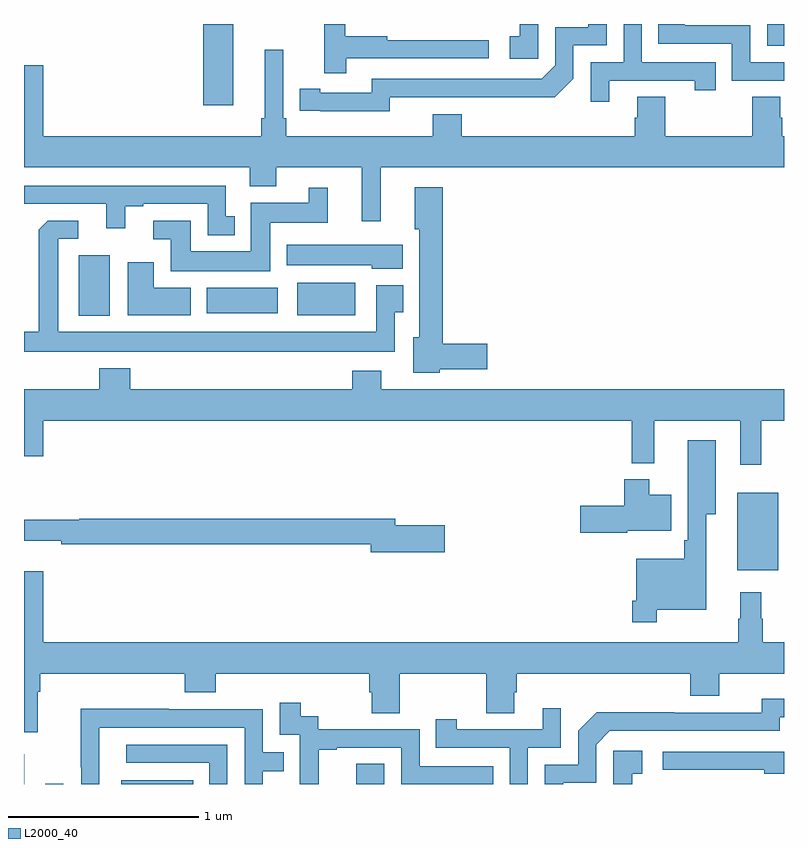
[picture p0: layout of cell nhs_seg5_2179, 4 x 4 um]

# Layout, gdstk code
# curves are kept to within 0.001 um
import gdstk
lib = gdstk.Library(unit=1e-6, precision=1e-09)
def R(c, l, rs):  # rectangles x0, y0, x1, y1
    for r in rs: c.add(gdstk.rectangle(r[:2], r[2:], *l))
def P(c, l, *ps):  # polygons
    for p in ps: c.add(gdstk.Polygon(p, *l))
L2000_40 = (2000, 40)

nhs_seg5_2179 = lib.new_cell('nhs_seg5_2179')
R(nhs_seg5_2179, L2000_40, [(237,902.799,237.001,902.955), (237.111,902.799,237.207,902.8), (237.512,902.799,237.89,902.818), (238.749,902.799,238.896,902.905), (240.755,903.923,240.97,904.333), (237.287,905.264,237.451,905.581), (238.439,905.267,238.744,905.437), (237.962,905.276,238.336,905.41), (237.944,906.372,238.102,906.799), (240.912,906.684,241,906.799)])
P(nhs_seg5_2179, L2000_40, [(238.697,906.618),(239.446,906.618),(239.446,906.714),(238.913,906.714),(238.913,906.734),(238.69,906.734),(238.69,906.799),(238.58,906.799),(238.58,906.54),(238.697,906.54)],
  [(240.079,906.501),(240.53,906.501),(240.53,906.45),(240.641,906.45),(240.641,906.597),(240.252,906.597),(240.252,906.799),(240.156,906.799),(240.156,906.597),(239.982,906.597),(239.982,906.39),(240.079,906.39)],
  [(241,906.597),(240.822,906.597),(240.822,906.792),(240.477,906.792),(240.477,906.799),(240.337,906.799),(240.337,906.696),(240.726,906.696),(240.726,906.501),(241,906.501)],
  [(238.926,906.414),(239.794,906.413),(239.892,906.51),(239.892,906.687),(240.066,906.687),(240.066,906.799),(239.969,906.799),(239.969,906.783),(239.796,906.783),(239.796,906.582),(239.724,906.51),(238.83,906.51),(238.83,906.438),(238.558,906.438),(238.558,906.458),(238.45,906.458),(238.45,906.342),(238.926,906.341)],
  [(239.706,906.799),(239.609,906.799),(239.609,906.735),(239.556,906.735),(239.556,906.615),(239.706,906.615)],
  [(240.979,906.306),(240.979,906.416),(240.832,906.416),(240.832,906.208),(240.375,906.208),(240.375,906.416),(240.227,906.416),(240.227,906.306),(240.215,906.306),(240.215,906.208),(239.303,906.208),(239.303,906.325),(239.15,906.325),(239.15,906.208),(238.379,906.208),(238.379,906.304),(238.365,906.304),(238.365,906.664),(238.268,906.664),(238.268,906.304),(238.249,906.304),(238.249,906.208),(237.1,906.208),(237.1,906.583),(237,906.583),(237,906.044),(238.187,906.044),(238.187,905.945),(238.327,905.945),(238.327,906.044),(238.778,906.044),(238.778,905.76),(238.877,905.76),(238.877,906.044),(241,906.044),(241,906.208),(240.992,906.208),(240.992,906.306)],
  [(238.108,905.787),(238.062,905.787),(238.062,905.949),(237,905.949),(237,905.853),(237.434,905.853),(237.434,905.724),(237.532,905.724),(237.532,905.841),(237.628,905.841),(237.628,905.853),(237.966,905.853),(237.966,905.687),(238.108,905.687)],
  [(239.187,904.982),(239.437,904.982),(239.437,905.117),(239.204,905.117),(239.204,905.941),(239.057,905.941),(239.057,905.718),(239.081,905.718),(239.081,905.151),(239.048,905.151),(239.048,904.964),(239.187,904.964)],
  [(238.297,905.753),(238.598,905.753),(238.598,905.938),(238.499,905.938),(238.499,905.857),(238.193,905.857),(238.193,905.602),(237.877,905.602),(237.877,905.763),(237.681,905.763),(237.681,905.667),(237.773,905.667),(237.773,905.498),(238.297,905.498)],
  [(238.951,905.281),(238.996,905.281),(238.996,905.425),(238.854,905.425),(238.854,905.179),(237.181,905.179),(237.181,905.67),(237.286,905.67),(237.286,905.763),(237.124,905.763),(237.078,905.717),(237.077,905.179),(237,905.179),(237,905.075),(238.951,905.075)],
  [(238.993,905.638),(238.382,905.638),(238.382,905.528),(238.83,905.528),(238.83,905.51),(238.993,905.51)],
  [(237.877,905.41),(237.682,905.41),(237.682,905.545),(237.545,905.545),(237.545,905.267),(237.877,905.267)],
  [(237.395,904.987),(237.395,904.876),(237,904.876),(237,904.524),(237.1,904.524),(237.1,904.712),(240.199,904.712),(240.199,904.487),(240.316,904.487),(240.316,904.712),(240.77,904.712),(240.77,904.479),(240.88,904.479),(240.88,904.712),(241,904.712),(241,904.876),(238.879,904.876),(238.879,904.975),(238.727,904.975),(238.727,904.876),(237.56,904.876),(237.56,904.987)],
  [(240.331,903.716),(240.592,903.716),(240.592,904.22),(240.64,904.22),(240.64,904.609),(240.494,904.609),(240.494,904.081),(240.475,904.081),(240.475,903.985),(240.222,903.985),(240.222,903.763),(240.202,903.763),(240.202,903.651),(240.331,903.651)],
  [(240.174,904.133),(240.406,904.133),(240.406,904.321),(240.292,904.321),(240.292,904.402),(240.158,904.402),(240.158,904.263),(239.928,904.263),(239.928,904.121),(240.174,904.121)],
  [(239.215,904.16),(238.954,904.16),(238.954,904.196),(237.291,904.196),(237.291,904.189),(237,904.189),(237,904.079),(237.196,904.079),(237.196,904.06),(238.826,904.06),(238.826,904.018),(239.215,904.018)],
  [(237.073,903.284),(237.086,903.284),(237.086,903.38),(237.845,903.38),(237.845,903.281),(238.01,903.281),(238.01,903.38),(238.817,903.38),(238.817,903.282),(238.829,903.282),(238.829,903.172),(238.977,903.172),(238.977,903.38),(239.434,903.38),(239.434,903.172),(239.581,903.172),(239.581,903.282),(239.594,903.282),(239.594,903.38),(240.506,903.38),(240.506,903.263),(240.658,903.263),(240.658,903.38),(241,903.38),(241,903.544),(240.887,903.544),(240.887,903.668),(240.88,903.668),(240.88,903.808),(240.77,903.808),(240.77,903.668),(240.759,903.668),(240.759,903.544),(237.1,903.544),(237.1,903.919),(237,903.919),(237,903.071),(237.073,903.071)],
  [(239.839,902.805),(240.012,902.805),(240.012,903.006),(240.084,903.078),(240.978,903.078),(240.978,903.15),(241,903.15),(241,903.247),(240.882,903.247),(240.882,903.174),(240.422,903.174),(240.422,903.176),(240.014,903.176),(239.916,903.078),(239.916,902.901),(239.742,902.901),(239.742,902.799),(239.839,902.799)],
  [(238.55,902.979),(238.645,902.979),(238.645,902.991),(238.986,902.991),(238.986,902.799),(239.471,902.799),(239.471,902.892),(239.082,902.892),(239.082,903.087),(238.548,903.087),(238.548,903.156),(238.456,903.156),(238.456,903.226),(238.347,903.226),(238.347,903.057),(238.452,903.057),(238.452,902.828),(238.451,902.828),(238.451,902.799),(238.55,902.799)],
  [(239.652,902.991),(239.826,902.991),(239.826,903.199),(239.729,903.199),(239.729,903.087),(239.278,903.087),(239.278,903.139),(239.167,903.139),(239.167,902.991),(239.556,902.991),(239.556,902.799),(239.652,902.799)],
  [(237.396,903.096),(238.161,903.096),(238.161,902.799),(238.257,902.799),(238.257,902.866),(238.367,902.866),(238.367,902.967),(238.257,902.967),(238.257,903.192),(237.761,903.192),(237.761,903.194),(237.298,903.194),(237.298,902.887),(237.3,902.887),(237.3,902.799),(237.396,902.799)],
  [(238.071,903.006),(237.537,903.006),(237.537,902.91),(237.975,902.91),(237.975,902.799),(238.071,902.799)],
  [(240.2,902.853),(240.253,902.853),(240.253,902.974),(240.102,902.974),(240.102,902.799),(240.2,902.799)],
  [(241,902.97),(240.363,902.97),(240.363,902.874),(240.895,902.874),(240.895,902.854),(241,902.854)])

lib.write_gds('nhs_seg5_2179.gds')
